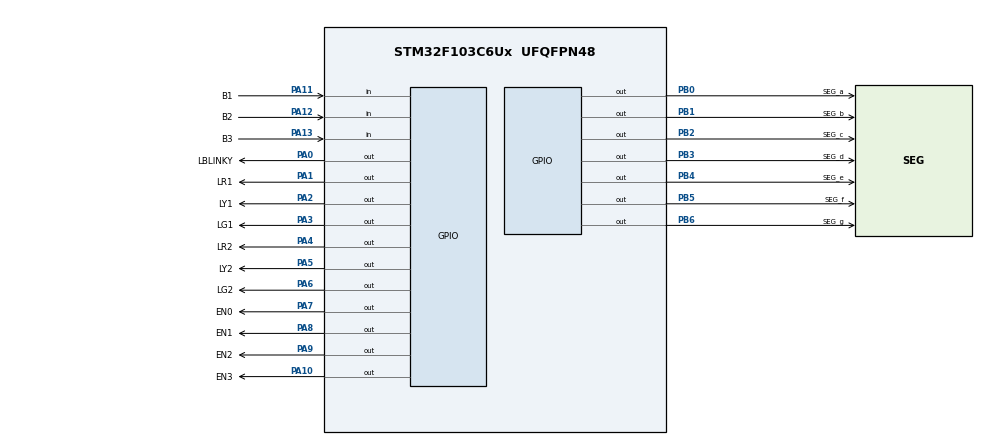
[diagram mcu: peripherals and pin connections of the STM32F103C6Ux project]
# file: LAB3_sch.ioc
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Mcu.Family=STM32F1
Mcu.Name=STM32F103C6Ux
Mcu.Package=UFQFPN48
NVIC.PriorityGroup=NVIC_PRIORITYGROUP_4
NVIC.TIM2_IRQn=true\:0\:0\:false\:false\:true\:true\:true
PA0-WKUP.GPIO_Label=LBLINKY
PA0-WKUP.Signal=GPIO_Output
PA1.GPIO_Label=LR1
PA1.Signal=GPIO_Output
PA10.GPIO_Label=EN3
PA10.Signal=GPIO_Output
PA11.GPIO_Label=B1
PA11.GPIO_PuPd=GPIO_PULLUP
PA11.Signal=GPIO_Input
PA12.GPIO_Label=B2
PA12.GPIO_PuPd=GPIO_PULLUP
PA12.Signal=GPIO_Input
PA13.GPIO_Label=B3
PA13.GPIO_PuPd=GPIO_PULLUP
PA13.Signal=GPIO_Input
PA2.GPIO_Label=LY1
PA2.Signal=GPIO_Output
PA3.GPIO_Label=LG1
PA3.Signal=GPIO_Output
PA4.GPIO_Label=LR2
PA4.Signal=GPIO_Output
PA5.GPIO_Label=LY2
PA5.Signal=GPIO_Output
PA6.GPIO_Label=LG2
PA6.Signal=GPIO_Output
PA7.GPIO_Label=EN0
PA7.Signal=GPIO_Output
PA8.GPIO_Label=EN1
PA8.Signal=GPIO_Output
PA9.GPIO_Label=EN2
PA9.Signal=GPIO_Output
PB0.GPIO_Label=SEG_a
PB0.Signal=GPIO_Output
PB1.GPIO_Label=SEG_b
PB1.Signal=GPIO_Output
PB2.GPIO_Label=SEG_c
PB2.Signal=GPIO_Output
PB3.GPIO_Label=SEG_d
PB3.Signal=GPIO_Output
PB4.GPIO_Label=SEG_e
PB4.Signal=GPIO_Output
PB5.GPIO_Label=SEG_f
PB5.Signal=GPIO_Output
PB6.GPIO_Label=SEG_g
PB6.Signal=GPIO_Output
ProjectManager.HeapSize=0x200
ProjectManager.StackSize=0x400
ProjectManager.TargetToolchain=STM32CubeIDE
RCC.APB1Freq_Value=8000000
RCC.APB2Freq_Value=8000000
TIM2.Period=9
TIM2.Prescaler=7999
VP_SYS_VS_ND.Mode=No_Debug
VP_TIM2_VS_ClockSourceINT.Mode=Internal
board=custom

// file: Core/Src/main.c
/* USER CODE BEGIN Header */
/**
  ******************************************************************************
  * @file           : main.c
  * @brief          : Main program body
  ******************************************************************************
  * @attention
  *
  * <h2><center>&copy; Copyright (c) 2025 STMicroelectronics.
  * All rights reserved.</center></h2>
  *
  * This software component is licensed by ST under BSD 3-Clause license,
  * the "License"; You may not use this file except in compliance with the
  * License. You may obtain a copy of the License at:
  *                        opensource.org/licenses/BSD-3-Clause
  *
  ******************************************************************************
  */
/* USER CODE END Header */
#include "main.h"

/* USER CODE BEGIN Includes */
#include "scheduler.h"
#include "global.h"
#include "fsm_automatic.h"
#include "fsm_manual.h"
#include "fsm_mode.h"
#include "tasks.h"
/* USER CODE END Includes */

TIM_HandleTypeDef htim2;

void SystemClock_Config(void);
static void MX_GPIO_Init(void);
static void MX_TIM2_Init(void);

int main(void)
{

  /* MCU Configuration--------------------------------------------------------*/

  /* Reset of all peripherals, Initializes the Flash interface and the Systick. */
  HAL_Init();

  /* Configure the system clock */
  SystemClock_Config();

  /* Initialize all configured peripherals */
  MX_GPIO_Init();
  MX_TIM2_Init();
  /* USER CODE BEGIN 2 */
  SCH_Init();
  HAL_TIM_Base_Start_IT(&htim2);
  /* USER CODE END 2 */

  /* Infinite loop */
  /* USER CODE BEGIN WHILE */
  setTimer(3, 125);
  setTimer(4, 1000);

  SCH_Add_Task(timerRun, 0, 1);
  SCH_Add_Task(getKeyInput, 1, 1);
  SCH_Add_Task(scanLED, 2, 1);
  SCH_Add_Task(task_led_blinky, 3, 1);
  SCH_Add_Task(fsm_mode_run, 4, 5);
  SCH_Add_Task(fsm_automatic_run, 5, 5);
  SCH_Add_Task(fsm_manual_run, 6, 5);
  while (1)
  {
	  SCH_Dispatch_Tasks();
    /* USER CODE END WHILE */

  }
}

void SystemClock_Config(void)
{
  RCC_OscInitTypeDef RCC_OscInitStruct = {0};
  RCC_ClkInitTypeDef RCC_ClkInitStruct = {0};

  /** Initializes the RCC Oscillators according to the specified parameters
  * in the RCC_OscInitTypeDef structure.
  */
  RCC_OscInitStruct.OscillatorType = RCC_OSCILLATORTYPE_HSI;
  RCC_OscInitStruct.HSIState = RCC_HSI_ON;
  RCC_OscInitStruct.HSICalibrationValue = RCC_HSICALIBRATION_DEFAULT;
  RCC_OscInitStruct.PLL.PLLState = RCC_PLL_NONE;
  if (HAL_RCC_OscConfig(&RCC_OscInitStruct) != HAL_OK)
  {
    Error_Handler();
  }
  /** Initializes the CPU, AHB and APB buses clocks
  */
  RCC_ClkInitStruct.ClockType = RCC_CLOCKTYPE_HCLK|RCC_CLOCKTYPE_SYSCLK
                              |RCC_CLOCKTYPE_PCLK1|RCC_CLOCKTYPE_PCLK2;
  RCC_ClkInitStruct.SYSCLKSource = RCC_SYSCLKSOURCE_HSI;
  RCC_ClkInitStruct.AHBCLKDivider = RCC_SYSCLK_DIV1;
  RCC_ClkInitStruct.APB1CLKDivider = RCC_HCLK_DIV1;
  RCC_ClkInitStruct.APB2CLKDivider = RCC_HCLK_DIV1;

  if (HAL_RCC_ClockConfig(&RCC_ClkInitStruct, FLASH_LATENCY_0) != HAL_OK)
  {
    Error_Handler();
  }
}

static void MX_TIM2_Init(void)
{

  TIM_ClockConfigTypeDef sClockSourceConfig = {0};
  TIM_MasterConfigTypeDef sMasterConfig = {0};

  htim2.Instance = TIM2;
  htim2.Init.Prescaler = 7999;
  htim2.Init.CounterMode = TIM_COUNTERMODE_UP;
  htim2.Init.Period = 9;
  htim2.Init.ClockDivision = TIM_CLOCKDIVISION_DIV1;
  htim2.Init.AutoReloadPreload = TIM_AUTORELOAD_PRELOAD_DISABLE;
  if (HAL_TIM_Base_Init(&htim2) != HAL_OK)
  {
    Error_Handler();
  }
  sClockSourceConfig.ClockSource = TIM_CLOCKSOURCE_INTERNAL;
  if (HAL_TIM_ConfigClockSource(&htim2, &sClockSourceConfig) != HAL_OK)
  {
    Error_Handler();
  }
  sMasterConfig.MasterOutputTrigger = TIM_TRGO_RESET;
  sMasterConfig.MasterSlaveMode = TIM_MASTERSLAVEMODE_DISABLE;
  if (HAL_TIMEx_MasterConfigSynchronization(&htim2, &sMasterConfig) != HAL_OK)
  {
    Error_Handler();
  }

}

static void MX_GPIO_Init(void)
{
  GPIO_InitTypeDef GPIO_InitStruct = {0};

  /* GPIO Ports Clock Enable */
  __HAL_RCC_GPIOA_CLK_ENABLE();
  __HAL_RCC_GPIOB_CLK_ENABLE();

  /*Configure GPIO pin Output Level */
  HAL_GPIO_WritePin(GPIOA, LBLINKY_Pin|LR1_Pin|LY1_Pin|LG1_Pin
                          |LR2_Pin|LY2_Pin|LG2_Pin|EN0_Pin
                          |EN1_Pin|EN2_Pin|EN3_Pin, GPIO_PIN_RESET);

  /*Configure GPIO pin Output Level */
  HAL_GPIO_WritePin(GPIOB, SEG_a_Pin|SEG_b_Pin|SEG_c_Pin|SEG_d_Pin
                          |SEG_e_Pin|SEG_f_Pin|SEG_g_Pin, GPIO_PIN_RESET);

  /*Configure GPIO pins : LBLINKY_Pin LR1_Pin LY1_Pin LG1_Pin
                           LR2_Pin LY2_Pin LG2_Pin EN0_Pin
                           EN1_Pin EN2_Pin EN3_Pin */
  GPIO_InitStruct.Pin = LBLINKY_Pin|LR1_Pin|LY1_Pin|LG1_Pin
                          |LR2_Pin|LY2_Pin|LG2_Pin|EN0_Pin
                          |EN1_Pin|EN2_Pin|EN3_Pin;
  GPIO_InitStruct.Mode = GPIO_MODE_OUTPUT_PP;
  GPIO_InitStruct.Pull = GPIO_NOPULL;
  GPIO_InitStruct.Speed = GPIO_SPEED_FREQ_LOW;
  HAL_GPIO_Init(GPIOA, &GPIO_InitStruct);

  /*Configure GPIO pins : SEG_a_Pin SEG_b_Pin SEG_c_Pin SEG_d_Pin
                           SEG_e_Pin SEG_f_Pin SEG_g_Pin */
  GPIO_InitStruct.Pin = SEG_a_Pin|SEG_b_Pin|SEG_c_Pin|SEG_d_Pin
                          |SEG_e_Pin|SEG_f_Pin|SEG_g_Pin;
  GPIO_InitStruct.Mode = GPIO_MODE_OUTPUT_PP;
  GPIO_InitStruct.Pull = GPIO_NOPULL;
  GPIO_InitStruct.Speed = GPIO_SPEED_FREQ_LOW;
  HAL_GPIO_Init(GPIOB, &GPIO_InitStruct);

  /*Configure GPIO pins : B1_Pin B2_Pin B3_Pin */
  GPIO_InitStruct.Pin = B1_Pin|B2_Pin|B3_Pin;
  GPIO_InitStruct.Mode = GPIO_MODE_INPUT;
  GPIO_InitStruct.Pull = GPIO_PULLUP;
  HAL_GPIO_Init(GPIOA, &GPIO_InitStruct);

}

/* USER CODE BEGIN 4 */
void HAL_TIM_PeriodElapsedCallback(TIM_HandleTypeDef *htim) {
    if (htim->Instance == TIM2) {
//        timerRun();
//        getKeyInput();
    	SCH_Update();
    }
}
/* USER CODE END 4 */

void Error_Handler(void)
{
  __disable_irq();
  while (1)
  {
  }
}

/************************ (C) COPYRIGHT STMicroelectronics *****END OF FILE****/
